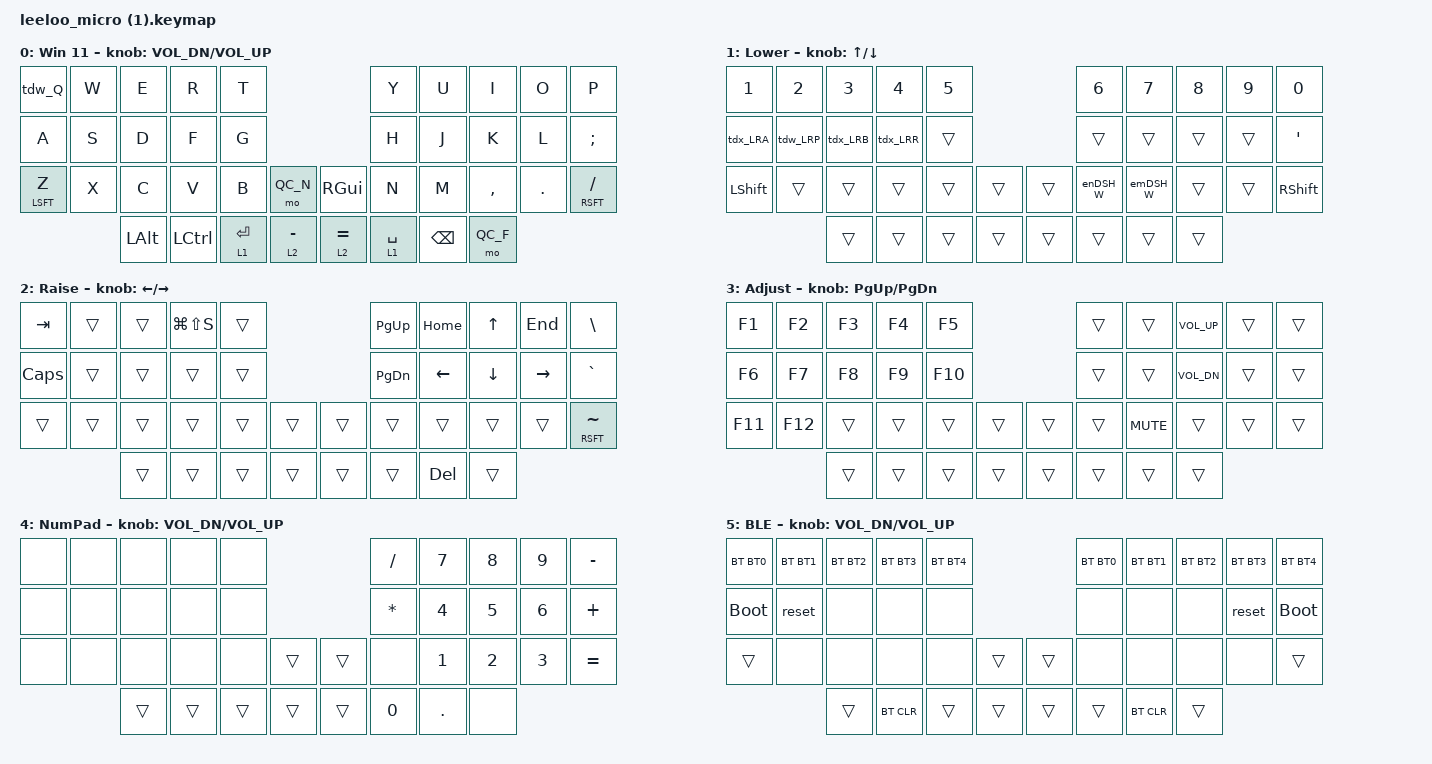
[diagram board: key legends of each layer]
/*
 * Copyright (c) 2022 The ZMK Contributors
 * SPDX-License-Identifier: MIT
 */

#include <behaviors.dtsi>
#include <dt-bindings/zmk/outputs.h>
#include <dt-bindings/zmk/keys.h>
#include <dt-bindings/zmk/bt.h>

// Layers
#define QW_M    0       // Main
#define QW_L    1       // Lower
#define QW_R    2       // Raise
#define QW_A    3       // Adjust

#define QC_N    4       // Number Pad
#define QC_F    5       // Firmware


// Short versions
#define WIN_SC      LG(LS(S))

#define enDSH_X     LA(MINUS)
#define emDSH_X     LS(LA(MINUS))

#define BT0         BT_SEL 0
#define BT1         BT_SEL 1
#define BT2         BT_SEL 2
#define BT3         BT_SEL 3
#define BT4         BT_SEL 4

#define BOOTLDR     &bootloader

#define VOLUP   C_VOL_UP
#define VOLDN   C_VOL_DN
#define VOLMT   C_MUTE


/* 
 * Assign the cs-gpios pin to 4.
 * Uncomment these next three lines if implementing nice!view Displays.
 */
&nice_view_spi {
    cs-gpios = <&pro_micro 4 GPIO_ACTIVE_HIGH>;
};

/ {
    conditional_layers {
        compatible = "zmk,conditional-layers";
        adjust_win_layer {
            if-layers = <1 2>;
            then-layer = <3>;
        };
    };

    combos {
        compatible = "zmk,combos";

        combo_win_esc {
            timeout-ms = <50>;
            key-positions = <0 1>;
            layers = <QW_M>;
            bindings = <&kp ESC>;
        };
    };

    macros {
        enDSH_W: en_Dash {
            label = "enDSH_W";
            compatible = "zmk,behavior-macro";
            #binding-cells = <0>;
            wait-ms = <20>;
            tap-ms = <20>;
            bindings
                = <&macro_press   &kp LALT>
                , <&macro_tap     &kp KP_N0 &kp KP_N1 &kp KP_N5 &kp KP_N0>
                , <&macro_release &kp LALT>
                ;
        };

        emDSH_W: em_Dash {
            label = "emDSH_W";
            compatible = "zmk,behavior-macro";
            #binding-cells = <0>;
            wait-ms = <20>;
            tap-ms = <20>;
            bindings
                = <&macro_press   &kp LALT>
                , <&macro_tap     &kp KP_N0 &kp KP_N1 &kp KP_N5 &kp KP_N1>
                , <&macro_release &kp LALT>
                ;
        };
    };

    behaviors {
        tdw_Q: tap_dance_0 {
            compatible = "zmk,behavior-tap-dance";
            label = "WIN_QUIT";
            #binding-cells = <0>;
            tapping-term-ms = <200>;
            bindings = <&kp Q>, <&kp LA(F4)>;
        };

        tdw_LRP: tap_dance_1 {
            compatible = "zmk,behavior-tap-dance";
            label = "WIN_LRPAR";
            #binding-cells = <0>;
            tapping-term-ms = <200>;
            bindings = <&kp LPAR>, <&kp RPAR>;
        };

        tdx_LRB: tap_dance_2 {
            compatible = "zmk,behavior-tap-dance";
            label = "WIN_LRBKT";
            #binding-cells = <0>;
            tapping-term-ms = <200>;
            bindings = <&kp LBKT>, <&kp RBKT>;
        };

        tdx_LRR: tap_dance_3 {
            compatible = "zmk,behavior-tap-dance";
            label = "WIN_LRBRC";
            #binding-cells = <0>;
            tapping-term-ms = <200>;
            bindings = <&kp LBRC>, <&kp RBRC>;
        };

        tdx_LRA: tap_dance_4 {
            compatible = "zmk,behavior-tap-dance";
            label = "WIN_LRANG";
            #binding-cells = <0>;
            tapping-term-ms = <200>;
            bindings = <&kp LT>, <&kp GT>;
        };
    };

    keymap {
        compatible = "zmk,keymap";

        default_win_layer {
            label = " Win 11";
            bindings = <
&tdw_Q     &kp W      &kp E      &kp R      &kp T                            &kp Y      &kp U      &kp I      &kp O      &kp P
&kp A      &kp S      &kp D      &kp F      &kp G                            &kp H      &kp J      &kp K      &kp L      &kp SEMI
&mt LSFT Z &kp X      &kp C      &kp V      &kp B     &mo QC_N    &kp RGUI   &kp N      &kp M      &kp COMMA  &kp DOT    &mt RSFT FSLH
                  &kp LALT   &kp LCTRL  &lt 1 RET  &lt 2 MINUS    &lt 2 EQUAL  &lt 1 SPACE  &kp BSPC   &mo QC_F
            >;

            sensor-bindings = <&inc_dec_kp C_VOL_DN C_VOL_UP>;
        };

        lower_win_layer {
            label = " Lower";
            bindings = <
&kp N1     &kp N2     &kp N3     &kp N4     &kp N5                           &kp N6     &kp N7     &kp N8     &kp N9     &kp N0
&tdx_LRA   &tdw_LRP   &tdx_LRB   &tdx_LRR   &trans                           &trans     &trans     &trans     &trans     &kp QUOT
&kp LSHFT  &trans     &trans     &trans     &trans     &trans     &trans     &enDSH_W   &emDSH_W   &trans     &trans     &kp RSHFT
                      &trans     &trans     &trans     &trans     &trans     &trans     &trans     &trans
            >;

            sensor-bindings = <&inc_dec_kp UP DOWN>;
        };

        raise_win_layer {
            label = " Raise";
            bindings = <
&kp TAB    &trans     &trans     &kp WIN_SC &trans                           &kp PG_UP  &kp HOME   &kp UP     &kp END    &kp BSLH
&kp CAPS   &trans     &trans     &trans     &trans                           &kp PG_DN  &kp LEFT   &kp DOWN   &kp RIGHT  &kp GRAVE
&trans     &trans     &trans     &trans     &trans     &trans     &trans     &trans     &trans     &trans     &trans     &mt RSFT TILDE
                      &trans     &trans     &trans     &trans     &trans     &trans     &kp DEL    &trans
            >;

            sensor-bindings = <&inc_dec_kp LEFT RIGHT>;
        };

        adjust_win_layer {
            label = " Adjust";
            bindings = <

&kp F1     &kp F2     &kp F3     &kp F4     &kp F5                           &trans     &trans     &kp VOLUP  &trans     &trans
&kp F6     &kp F7     &kp F8     &kp F9     &kp F10                          &trans     &trans     &kp VOLDN  &trans     &trans
&kp F11    &kp F12    &trans     &trans     &trans     &trans     &trans     &trans     &kp VOLMT  &trans     &trans     &trans
                      &trans     &trans     &trans     &trans     &trans     &trans     &trans     &trans
            >;

            sensor-bindings = <&inc_dec_kp PG_UP PG_DN>;
        };

        numpad_layer {
            label = " NumPad";
            bindings = <

&none      &none      &none      &none      &none                            &kp SLASH  &kp N7     &kp N8     &kp N9     &kp MINUS
&none      &none      &none      &none      &none                            &kp ASTRK  &kp N4     &kp N5     &kp N6     &kp PLUS 
&none      &none      &none      &none      &none      &trans     &trans     &none      &kp N1     &kp N2     &kp N3     &kp EQUAL
                      &trans     &trans     &trans     &trans     &trans     &kp N0     &kp DOT    &none
            >;

            sensor-bindings = <&inc_dec_kp C_VOL_DN C_VOL_UP>;
        };

        ble_layer {
            label = " BLE";
            bindings = <

&bt BT0    &bt BT1    &bt BT2    &bt BT3    &bt BT4                          &bt BT0    &bt BT1    &bt BT2    &bt BT3    &bt BT4
BOOTLDR    &reset     &none      &none      &none                            &none      &none      &none      &reset     BOOTLDR
&trans     &none      &none      &none      &none      &trans     &trans     &none      &none      &none      &none      &trans
                      &trans     &bt BT_CLR &trans     &trans     &trans     &trans     &bt BT_CLR &trans
            >;

            sensor-bindings = <&inc_dec_kp C_VOL_DN C_VOL_UP>;
        };

    };
};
